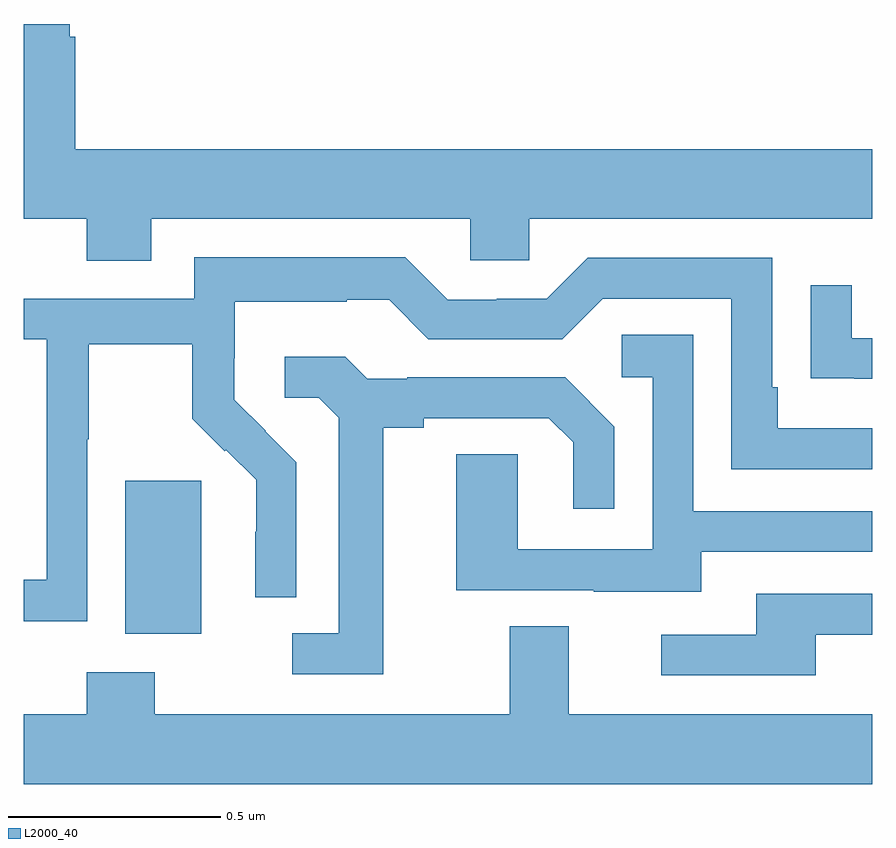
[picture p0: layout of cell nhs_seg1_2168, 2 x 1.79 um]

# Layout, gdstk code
import gdstk
lib = gdstk.Library(unit=1e-6, precision=1e-09)
def R(c, l, rs):  # rectangles x0, y0, x1, y1
    for r in rs: c.add(gdstk.rectangle(r[:2], r[2:], *l))
def P(c, l, *ps):  # polygons
    for p in ps: c.add(gdstk.Polygon(p, *l))
L2000_40 = (2000, 40)

nhs_seg1_2168 = lib.new_cell('nhs_seg1_2168')
R(nhs_seg1_2168, L2000_40, [(138.239,542.762,138.418,543.123)])
P(nhs_seg1_2168, L2000_40, [(138,544.199),(138,543.74),(138.149,543.74),(138.149,543.641),(138.301,543.641),(138.301,543.74),(139.053,543.74),(139.053,543.642),(139.191,543.642),(139.191,543.74),(140,543.74),(140,543.904),(138.122,543.904),(138.122,544.169),(138.109,544.169),(138.109,544.199)],
  [(138.15,543.22),(138.153,543.22),(138.153,543.444),(138.397,543.444),(138.397,543.269),(138.474,543.192),(138.477,543.195),(138.548,543.125),(138.548,543.002),(138.546,543.002),(138.546,542.848),(138.642,542.848),(138.642,543.166),(138.569,543.239),(138.57,543.24),(138.496,543.314),(138.496,543.411),(138.498,543.411),(138.498,543.545),(138.761,543.545),(138.761,543.549),(138.861,543.549),(138.954,543.456),(139.269,543.456),(139.365,543.552),(139.668,543.552),(139.668,543.15),(140,543.15),(140,543.246),(139.777,543.246),(139.777,543.343),(139.764,543.343),(139.764,543.648),(139.329,543.648),(139.233,543.552),(139.115,543.552),(139.115,543.549),(138.999,543.549),(138.899,543.649),(138.402,543.649),(138.402,543.552),(138,543.552),(138,543.456),(138.054,543.456),(138.054,542.889),(138,542.889),(138,542.791),(138.15,542.791)],
  [(140,543.459),(139.951,543.459),(139.951,543.583),(139.855,543.583),(139.855,543.364),(139.957,543.364),(139.957,543.363),(140,543.363)],
  [(139.597,542.955),(140,542.955),(140,543.051),(139.578,543.051),(139.578,543.467),(139.41,543.467),(139.41,543.366),(139.482,543.366),(139.482,542.961),(139.164,542.961),(139.164,543.185),(139.019,543.185),(139.019,542.865),(139.343,542.865),(139.343,542.861),(139.597,542.861)],
  [(138.847,543.248),(138.943,543.248),(138.943,543.27),(139.238,543.27),(139.295,543.213),(139.295,543.057),(139.392,543.057),(139.392,543.25),(139.276,543.366),(138.904,543.366),(138.904,543.363),(138.81,543.363),(138.758,543.415),(138.615,543.415),(138.615,543.318),(138.696,543.318),(138.743,543.271),(138.743,542.763),(138.633,542.763),(138.633,542.667),(138.847,542.667)],
  [(139.867,542.76),(140,542.76),(140,542.856),(139.727,542.856),(139.727,542.76),(139.503,542.76),(139.503,542.664),(139.867,542.664)],
  [(140,542.572),(139.285,542.572),(139.285,542.78),(139.145,542.78),(139.145,542.572),(138.309,542.572),(138.309,542.671),(138.149,542.671),(138.149,542.572),(138,542.572),(138,542.408),(140,542.408)])

lib.write_gds('nhs_seg1_2168.gds')
